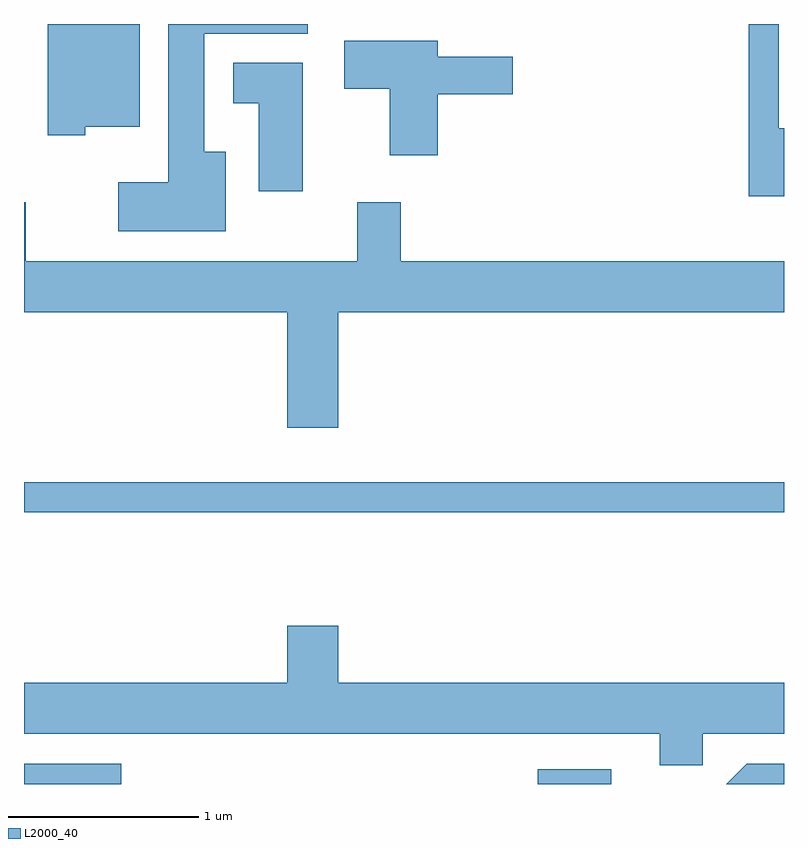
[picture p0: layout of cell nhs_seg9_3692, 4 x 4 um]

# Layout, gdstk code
import gdstk
lib = gdstk.Library(unit=1e-6, precision=1e-09)
def R(c, l, rs):  # rectangles x0, y0, x1, y1
    for r in rs: c.add(gdstk.rectangle(r[:2], r[2:], *l))
def P(c, l, *ps):  # polygons
    for p in ps: c.add(gdstk.Polygon(p, *l))
L2000_40 = (2000, 40)

nhs_seg9_3692 = lib.new_cell('nhs_seg9_3692')
R(nhs_seg9_3692, L2000_40, [(293.611,2000.432,294.123,2000.539), (296.316,2000.432,296.703,2000.509), (293.611,2001.861,297.611,2002.019)])
P(nhs_seg9_3692, L2000_40, [(297.611,2003.884),(297.584,2003.884),(297.584,2004.432),(297.426,2004.432),(297.426,2003.526),(297.611,2003.526)],
  [(293.934,2003.891),(294.219,2003.891),(294.219,2004.432),(293.736,2004.432),(293.736,2003.846),(293.934,2003.846)],
  [(294.674,2003.759),(294.559,2003.759),(294.559,2004.381),(295.104,2004.381),(295.104,2004.432),(294.371,2004.432),(294.371,2003.599),(294.106,2003.599),(294.106,2003.341),(294.674,2003.341)],
  [(295.789,2004.061),(296.184,2004.061),(296.184,2004.259),(295.789,2004.259),(295.789,2004.344),(295.296,2004.344),(295.296,2004.091),(295.536,2004.091),(295.536,2003.741),(295.789,2003.741)],
  [(295.079,2004.229),(294.711,2004.229),(294.711,2004.016),(294.846,2004.016),(294.846,2003.551),(295.079,2003.551)],
  [(295.264,2002.916),(297.611,2002.916),(297.611,2003.184),(295.594,2003.184),(295.594,2003.494),(295.366,2003.494),(295.366,2003.184),(293.619,2003.184),(293.619,2003.494),(293.611,2003.494),(293.611,2002.916),(294.996,2002.916),(294.996,2002.306),(295.264,2002.306)],
  [(297.184,2000.696),(297.611,2000.696),(297.611,2000.964),(295.264,2000.964),(295.264,2001.264),(294.996,2001.264),(294.996,2000.964),(293.611,2000.964),(293.611,2000.696),(296.956,2000.696),(296.956,2000.531),(297.184,2000.531)],
  [(297.611,2000.539),(297.414,2000.539),(297.307,2000.432),(297.611,2000.432)])

lib.write_gds('nhs_seg9_3692.gds')
